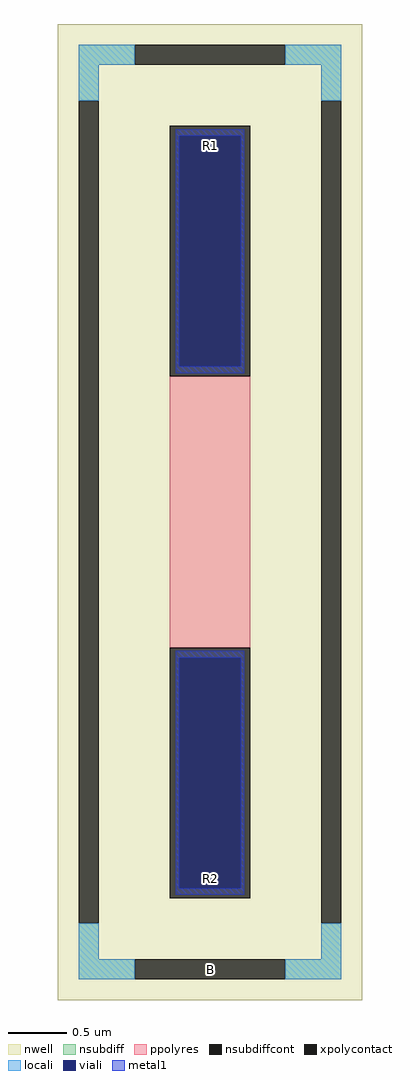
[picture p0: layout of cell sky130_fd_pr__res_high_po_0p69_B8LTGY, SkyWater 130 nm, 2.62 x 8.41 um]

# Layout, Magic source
magic
tech sky130A
magscale 1 2
<< nwell >>
rect -262 -841 262 841
<< nsubdiff >>
rect -226 771 -130 805
rect 130 771 226 805
rect -226 709 -192 771
rect 192 709 226 771
rect -226 -771 -192 -709
rect 192 -771 226 -709
rect -226 -805 -130 -771
rect 130 -805 226 -771
<< nsubdiffcont >>
rect -130 771 130 805
rect -226 -709 -192 709
rect 192 -709 226 709
rect -130 -805 130 -771
<< xpolycontact >>
rect -69 234 69 666
rect -69 -666 69 -234
<< ppolyres >>
rect -69 -234 69 234
<< locali >>
rect -226 771 -130 805
rect 130 771 226 805
rect -226 709 -192 771
rect 192 709 226 771
rect -226 -771 -192 -709
rect 192 -771 226 -709
rect -226 -805 -130 -771
rect 130 -805 226 -771
<< viali >>
rect -53 251 53 648
rect -53 -648 53 -251
<< metal1 >>
rect -59 648 59 660
rect -59 251 -53 648
rect 53 251 59 648
rect -59 239 59 251
rect -59 -251 59 -239
rect -59 -648 -53 -251
rect 53 -648 59 -251
rect -59 -660 59 -648
<< labels >>
rlabel nsubdiffcont 0 -788 0 -788 0 B
port 1 nsew
rlabel xpolycontact 0 631 0 631 0 R1
port 2 nsew
rlabel xpolycontact 0 -631 0 -631 0 R2
port 3 nsew
<< properties >>
string FIXED_BBOX -209 -788 209 788
string gencell sky130_fd_pr__res_high_po_0p69
string library sky130
string parameters w 0.690 l 2.5 m 1 nx 1 wmin 0.690 lmin 0.50 class resistor rho 319.8 val 1.723k dummy 0 dw 0.0 term 194.82 sterm 0.0 caplen 0 guard 1 glc 1 grc 1 gtc 1 gbc 1 compatible {sky130_fd_pr__res_high_po_0p35  sky130_fd_pr__res_high_po_0p69 sky130_fd_pr__res_high_po_1p41  sky130_fd_pr__res_high_po_2p85 sky130_fd_pr__res_high_po_5p73} snake 0 full_metal 1 wmax 0.690 n_guard 1 hv_guard 0 vias 1 viagb 0 viagt 0 viagl 0 viagr 0 doports 1
<< end >>
